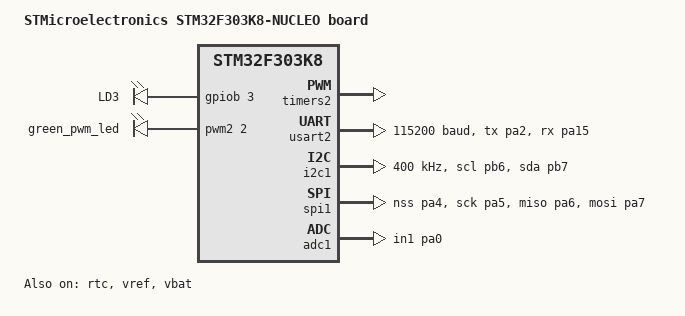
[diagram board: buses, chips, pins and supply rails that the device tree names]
/*
 * Copyright (c) 2020 Sebastian Schwabe <sebastian.schwabe@mailbox.tu-dresden.de>
 *                    Fabian Paschke <fabian.paschke@eas.iis.fraunhofer.de>
 *
 * SPDX-License-Identifier: Apache-2.0
 */

/dts-v1/;
#include <st/f3/stm32f303X8.dtsi>
#include <st/f3/stm32f303k(6-8)tx-pinctrl.dtsi>

/ {
	model = "STMicroelectronics STM32F303K8-NUCLEO board";
	compatible = "st,stm32f303k8-nucleo";

	chosen {
		zephyr,console = &usart2;
		zephyr,shell-uart = &usart2;
		zephyr,sram = &sram0;
		zephyr,flash = &flash0;
	};

	leds: leds {
		compatible = "gpio-leds";

		green_led_3: green_led_3 {
			gpios = <&gpiob 3 GPIO_ACTIVE_HIGH>;
			label = "LD3";
		};
	};

	pwmleds {
		compatible = "pwm-leds";

		green_pwm_led: green_pwm_led {
			pwms = <&pwm2 2 PWM_MSEC(20) PWM_POLARITY_NORMAL>;
		};
	};

	aliases {
		led0 = &green_led_3;
		pwm-led0 = &green_pwm_led;
		volt-sensor0 = &vref;
		volt-sensor1 = &vbat;
	};
};

&clk_lsi {
	status = "okay";
};

&clk_hsi {
	status = "okay";
};

&pll {
	prediv = <1>;
	mul = <9>;
	clocks = <&clk_hsi>;
	status = "okay";
};

&rcc {
	clocks = <&pll>;
	clock-frequency = <DT_FREQ_M(36)>;
	ahb-prescaler = <1>;
	apb1-prescaler = <2>;
	apb2-prescaler = <1>;
	adc12-prescaler = <0>;
};

&timers2 {
	status = "okay";

	pwm2: pwm {
		status = "okay";
		pinctrl-0 = <&tim2_ch2_pb3>;
		pinctrl-names = "default";
	};
};

&usart2 {
	pinctrl-0 = <&usart2_tx_pa2 &usart2_rx_pa15>;
	pinctrl-names = "default";
	current-speed = <115200>;
	status = "okay";
};

&i2c1 {
	pinctrl-0 = <&i2c1_scl_pb6 &i2c1_sda_pb7>;
	pinctrl-names = "default";
	status = "okay";
	clock-frequency = <I2C_BITRATE_FAST>;
};

&spi1 {
	pinctrl-0 = <&spi1_nss_pa4 &spi1_sck_pa5
		     &spi1_miso_pa6 &spi1_mosi_pa7>;
	pinctrl-names = "default";
	status = "okay";
};

&adc1 {
	pinctrl-0 = <&adc1_in1_pa0>;
	pinctrl-names = "default";
	st,adc-clock-source = "SYNC";
	st,adc-prescaler = <2>;
	status = "okay";
};

&rtc {
	clocks = <&rcc STM32_CLOCK(APB1, 28)>,
		 <&rcc STM32_SRC_LSI RTC_SEL(2)>;
	status = "okay";
};

&vref {
	status = "okay";
};

&vbat {
	status = "okay";
};
